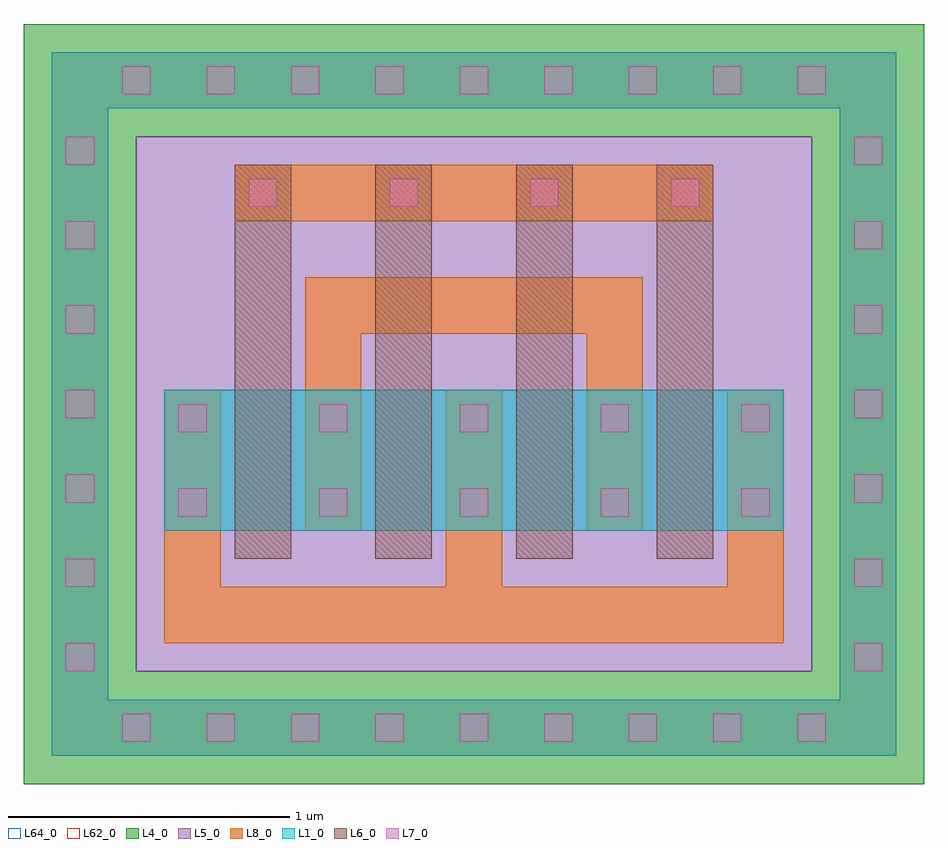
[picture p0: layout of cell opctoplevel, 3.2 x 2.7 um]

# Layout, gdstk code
import gdstk
lib = gdstk.Library(unit=1e-6, precision=1e-09)
def R(c, l, rs):  # rectangles x0, y0, x1, y1
    for r in rs: c.add(gdstk.rectangle(r[:2], r[2:], *l))
def A(c, l, x, y, w, h, nx, ny, dx, dy):  # array of equal rectangles
    R(c, l, [(x+i*dx, y+j*dy, x+i*dx+w, y+j*dy+h) for i in range(nx) for j in range(ny)])
L1_0 = (1, 0)
L4_0 = (4, 0)
L5_0 = (5, 0)
L6_0 = (6, 0)
L7_0 = (7, 0)
L8_0 = (8, 0)
L62_0 = (62, 0)
L64_0 = (64, 0)

opctoplevel = lib.new_cell('opctoplevel')
R(opctoplevel, L1_0, [(-0.65,-0.8,2.35,-0.6), (-0.65,-0.8,-0.45,1.7), (2.15,-0.8,2.35,1.7), (-0.25,0,1.95,0.5), (-0.65,1.5,2.35,1.7)])
R(opctoplevel, L4_0, [(-0.75,-0.9,2.45,-0.5), (-0.75,-0.9,-0.35,1.8), (2.05,-0.9,2.45,1.8), (-0.75,1.4,2.45,1.8)])
R(opctoplevel, L5_0, [(-0.35,-0.5,2.05,1.4)])
A(opctoplevel, L6_0, 0, -0.1, 0.2, 1.4, 4, 1, 0.5, 0)
A(opctoplevel, L7_0, -0.4, -0.75, 0.1, 0.1, 9, 2, 0.3, 2.3)
A(opctoplevel, L7_0, -0.6, -0.5, 0.1, 0.1, 1, 7, 0, 0.3)
A(opctoplevel, L7_0, 2.2, -0.5, 0.1, 0.1, 1, 7, 0, 0.3)
A(opctoplevel, L7_0, -0.2, 0.05, 0.1, 0.1, 5, 2, 0.5, 0.3)
A(opctoplevel, L7_0, 0.05, 1.15, 0.1, 0.1, 4, 1, 0.5, 0)
A(opctoplevel, L8_0, -0.25, -0.2, 0.2, 0.2, 3, 1, 1, 0)
A(opctoplevel, L8_0, -0.25, 0, 0.2, 0.5, 5, 1, 0.5, 0)
R(opctoplevel, L8_0, [(-0.65,-0.8,2.35,-0.6), (-0.65,-0.8,-0.45,1.7), (2.15,-0.8,2.35,1.7), (-0.25,-0.4,1.95,-0.2), (0.25,0.5,0.45,0.7), (1.25,0.5,1.45,0.7), (0.25,0.7,1.45,0.9), (0,1.1,1.7,1.3), (-0.65,1.5,2.35,1.7)])
R(opctoplevel, L62_0, [(-0.65,-0.8,2.35,1.7)])
R(opctoplevel, L64_0, [(-0.65,-0.8,2.35,1.7)])

lib.write_gds('opctoplevel.gds')
